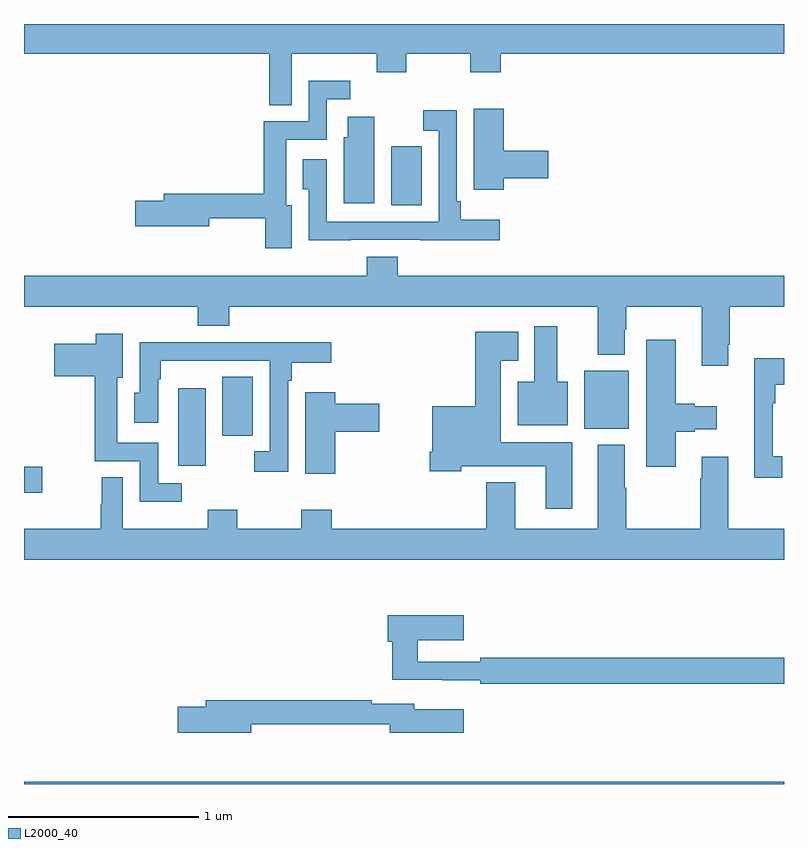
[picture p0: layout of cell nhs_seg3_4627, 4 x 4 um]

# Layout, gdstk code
import gdstk
lib = gdstk.Library(unit=1e-6, precision=1e-09)
def R(c, l, rs):  # rectangles x0, y0, x1, y1
    for r in rs: c.add(gdstk.rectangle(r[:2], r[2:], *l))
def P(c, l, *ps):  # polygons
    for p in ps: c.add(gdstk.Polygon(p, *l))
L2000_40 = (2000, 40)

nhs_seg3_4627 = lib.new_cell('nhs_seg3_4627')
R(nhs_seg3_4627, L2000_40, [(359,702.4,363,702.412), (359,703.934,359.095,704.069), (359.813,704.076,359.956,704.482), (360.044,704.232,360.205,704.543), (361.949,704.27,362.182,704.575), (360.932,705.445,361.093,705.756)])
P(nhs_seg3_4627, L2000_40, [(360.409,706.244),(360.856,706.244),(360.856,706.145),(361.011,706.145),(361.011,706.244),(361.348,706.244),(361.348,706.145),(361.508,706.145),(361.508,706.244),(363,706.244),(363,706.4),(359,706.4),(359,706.244),(360.291,706.244),(360.291,705.973),(360.409,705.973)],
  [(360.409,705.447),(360.379,705.447),(360.379,705.792),(360.594,705.792),(360.594,706.005),(360.718,706.005),(360.718,706.102),(360.498,706.102),(360.498,705.888),(360.261,705.888),(360.261,705.506),(359.735,705.506),(359.735,705.47),(359.586,705.47),(359.586,705.335),(359.974,705.335),(359.974,705.378),(360.271,705.378),(360.271,705.219),(360.409,705.219)],
  [(361.526,705.587),(361.759,705.587),(361.759,705.734),(361.526,705.734),(361.526,705.955),(361.367,705.955),(361.367,705.528),(361.526,705.528)],
  [(360.719,705.264),(361.085,705.264),(361.085,705.263),(361.504,705.263),(361.504,705.37),(361.298,705.37),(361.298,705.466),(361.278,705.466),(361.278,705.946),(361.101,705.946),(361.101,705.837),(361.182,705.837),(361.182,705.36),(360.594,705.36),(360.594,705.688),(360.467,705.688),(360.467,705.529),(360.498,705.529),(360.498,705.263),(360.719,705.263)],
  [(360.844,705.913),(360.704,705.913),(360.704,705.804),(360.683,705.804),(360.683,705.456),(360.844,705.456)],
  [(362.707,704.713),(362.715,704.713),(362.715,704.912),(363,704.912),(363,705.076),(360.968,705.076),(360.968,705.175),(360.803,705.175),(360.803,705.076),(359,705.076),(359,704.912),(359.915,704.912),(359.915,704.813),(360.08,704.813),(360.08,704.912),(362.021,704.912),(362.021,704.66),(362.161,704.66),(362.161,704.792),(362.169,704.792),(362.169,704.912),(362.567,704.912),(362.567,704.601),(362.707,704.601)],
  [(361.861,704.518),(361.807,704.518),(361.807,704.809),(361.685,704.809),(361.685,704.518),(361.598,704.518),(361.598,704.288),(361.861,704.288)],
  [(361.885,704.2),(361.51,704.2),(361.51,704.627),(361.6,704.627),(361.6,704.779),(361.376,704.779),(361.376,704.389),(361.148,704.389),(361.148,704.149),(361.136,704.149),(361.136,704.045),(361.302,704.045),(361.302,704.072),(361.745,704.072),(361.745,703.848),(361.885,703.848)],
  [(359.83,703.983),(359.706,703.983),(359.706,704.196),(359.491,704.196),(359.491,704.537),(359.521,704.537),(359.521,704.77),(359.378,704.77),(359.378,704.716),(359.16,704.716),(359.16,704.546),(359.373,704.546),(359.373,704.1),(359.61,704.1),(359.61,703.886),(359.83,703.886)],
  [(362.431,704.255),(362.531,704.255),(362.531,704.267),(362.647,704.267),(362.647,704.389),(362.531,704.389),(362.531,704.402),(362.431,704.402),(362.431,704.737),(362.276,704.737),(362.276,704.07),(362.431,704.07)],
  [(360.39,704.522),(360.41,704.522),(360.41,704.618),(360.616,704.618),(360.616,704.726),(360.197,704.726),(360.197,704.724),(359.831,704.724),(359.831,704.726),(359.61,704.726),(359.61,704.46),(359.579,704.46),(359.579,704.301),(359.706,704.301),(359.706,704.531),(359.719,704.531),(359.719,704.627),(359.948,704.627),(359.948,704.628),(360.294,704.628),(360.294,704.151),(360.213,704.151),(360.213,704.043),(360.39,704.043)],
  [(362.992,704.126),(362.94,704.126),(362.94,704.405),(362.953,704.405),(362.953,704.501),(363,704.501),(363,704.641),(362.843,704.641),(362.843,704.013),(362.992,704.013)],
  [(360.638,704.255),(360.871,704.255),(360.871,704.402),(360.638,704.402),(360.638,704.461),(360.479,704.461),(360.479,704.034),(360.638,704.034)],
  [(363,703.744),(362.707,703.744),(362.707,704.122),(362.567,704.122),(362.567,704.009),(362.56,704.009),(362.56,703.744),(362.169,703.744),(362.169,703.959),(362.161,703.959),(362.161,704.185),(362.021,704.185),(362.021,703.744),(361.585,703.744),(361.585,703.987),(361.433,703.987),(361.433,703.744),(360.62,703.744),(360.62,703.843),(360.46,703.843),(360.46,703.744),(360.123,703.744),(360.123,703.843),(359.968,703.843),(359.968,703.744),(359.521,703.744),(359.521,704.015),(359.41,704.015),(359.41,703.872),(359.403,703.872),(359.403,703.744),(359,703.744),(359,703.58),(363,703.58)],
  [(363,703.064),(361.402,703.064),(361.402,703.044),(361.073,703.044),(361.073,703.157),(361.315,703.157),(361.315,703.287),(360.914,703.287),(360.914,703.15),(360.937,703.15),(360.937,702.948),(361.202,702.948),(361.202,702.947),(361.402,702.947),(361.402,702.928),(363,702.928)],
  [(360.196,702.714),(360.926,702.714),(360.926,702.671),(361.315,702.671),(361.315,702.793),(361.054,702.793),(361.054,702.822),(360.83,702.822),(360.83,702.842),(359.957,702.842),(359.957,702.806),(359.808,702.806),(359.808,702.671),(360.196,702.671)])

lib.write_gds('nhs_seg3_4627.gds')
